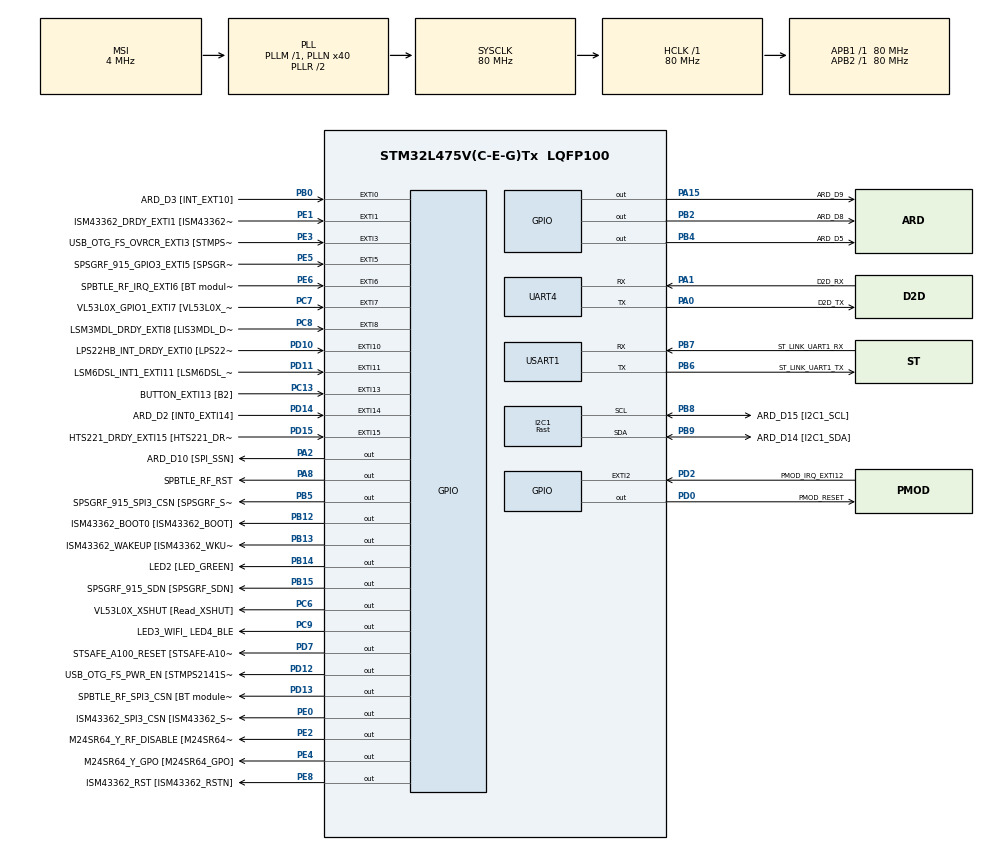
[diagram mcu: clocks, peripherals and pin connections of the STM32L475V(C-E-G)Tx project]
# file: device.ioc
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Dma.Request0=USART1_TX
Dma.Request1=UART4_RX
Dma.Request2=UART4_TX
Dma.UART4_RX.1.Direction=DMA_PERIPH_TO_MEMORY
Dma.UART4_RX.1.Instance=DMA2_Channel5
Dma.UART4_RX.1.MemDataAlignment=DMA_MDATAALIGN_BYTE
Dma.UART4_RX.1.MemInc=DMA_MINC_ENABLE
Dma.UART4_RX.1.Mode=DMA_CIRCULAR
Dma.UART4_RX.1.PeriphDataAlignment=DMA_PDATAALIGN_BYTE
Dma.UART4_RX.1.PeriphInc=DMA_PINC_DISABLE
Dma.UART4_RX.1.Priority=DMA_PRIORITY_HIGH
Dma.UART4_TX.2.Direction=DMA_MEMORY_TO_PERIPH
Dma.UART4_TX.2.Instance=DMA2_Channel3
Dma.UART4_TX.2.MemDataAlignment=DMA_MDATAALIGN_BYTE
Dma.UART4_TX.2.MemInc=DMA_MINC_ENABLE
Dma.UART4_TX.2.Mode=DMA_NORMAL
Dma.UART4_TX.2.PeriphDataAlignment=DMA_PDATAALIGN_BYTE
Dma.UART4_TX.2.PeriphInc=DMA_PINC_DISABLE
Dma.UART4_TX.2.Priority=DMA_PRIORITY_HIGH
Dma.USART1_TX.0.Direction=DMA_MEMORY_TO_PERIPH
Dma.USART1_TX.0.Instance=DMA1_Channel4
Dma.USART1_TX.0.MemDataAlignment=DMA_MDATAALIGN_BYTE
Dma.USART1_TX.0.MemInc=DMA_MINC_ENABLE
Dma.USART1_TX.0.Mode=DMA_NORMAL
Dma.USART1_TX.0.PeriphDataAlignment=DMA_PDATAALIGN_BYTE
Dma.USART1_TX.0.PeriphInc=DMA_PINC_DISABLE
Dma.USART1_TX.0.Priority=DMA_PRIORITY_MEDIUM
FREERTOS.Tasks01=defaultTask,24,128,StartDefaultTask,Default,NULL,Dynamic,NULL,NULL
FREERTOS.configUSE_NEWLIB_REENTRANT=1
I2C1.I2C_Speed_Mode=I2C_Fast
I2C1.Timing=0x00702991
Mcu.Family=STM32L4
Mcu.Name=STM32L475V(C-E-G)Tx
Mcu.Package=LQFP100
Mcu.UserConstants=d2d_uart,huart4
NVIC.DMA1_Channel4_IRQn=true\:5\:0\:false\:false\:true\:true\:false\:true\:true
NVIC.DMA2_Channel3_IRQn=true\:5\:0\:false\:false\:true\:true\:false\:true\:true
NVIC.DMA2_Channel5_IRQn=true\:5\:0\:false\:false\:true\:true\:false\:true\:true
NVIC.EXTI15_10_IRQn=true\:5\:0\:false\:false\:true\:true\:true\:true\:true
NVIC.EXTI9_5_IRQn=true\:5\:0\:false\:false\:true\:true\:true\:true\:true
NVIC.PriorityGroup=NVIC_PRIORITYGROUP_4
NVIC.TIM1_TRG_COM_TIM17_IRQn=true\:15\:0\:false\:false\:true\:false\:false\:true\:true
NVIC.TimeBase=TIM1_TRG_COM_TIM17_IRQn
NVIC.TimeBaseIP=TIM17
NVIC.UART4_IRQn=true\:5\:0\:false\:false\:true\:true\:true\:true\:true
NVIC.USART1_IRQn=true\:5\:0\:false\:false\:true\:true\:true\:true\:true
PA0.GPIO_Label=D2D_TX
PA0.Mode=Asynchronous
PA0.Signal=UART4_TX
PA1.GPIO_Label=D2D_RX
PA1.Mode=Asynchronous
PA1.Signal=UART4_RX
PA10.GPIO_Label=USB_OTG_FS_ID
PA10.Signal=USB_OTG_FS_ID
PA11.GPIO_Label=USB_OTG_FS_DM
PA11.Signal=USB_OTG_FS_DM
PA12.GPIO_Label=USB_OTG_FS_DP
PA12.Signal=USB_OTG_FS_DP
PA13\ (JTMS-SWDIO).GPIO_Label=SYS_JTMS_SWDIO
PA13\ (JTMS-SWDIO).Signal=SYS_JTMS-SWDIO
PA14\ (JTCK-SWCLK).GPIO_Label=SYS_JTCK_SWCLK
PA14\ (JTCK-SWCLK).Signal=SYS_JTCK-SWCLK
PA15\ (JTDI).GPIO_Label=ARD_D9
PA15\ (JTDI).Signal=GPIO_Output
PA2.GPIO_Label=ARD_D10 [SPI_SSN]
PA2.Signal=GPIO_Output
PA3.GPIO_Label=ARD_D4
PA3.Signal=S_TIM2_CH4
PA4.GPIO_Label=ARD_D7
PA4.Signal=ADCx_IN9
PA5.GPIO_Label=ARD_D13 [SPI1_SCK]
PA5.Signal=SPI1_SCK
PA6.GPIO_Label=ARD_D12 [SPI1_MISO]
PA6.Signal=SPI1_MISO
PA7.GPIO_Label=ARD_D11 [SPI1_MOSI]
PA7.Signal=SPI1_MOSI
PA8.GPIO_Label=SPBTLE_RF_RST
PA8.Signal=GPIO_Output
PA9.GPIO_Label=USB_OTG_FS_VBUS [STMPS2141STR_OUT]
PA9.Signal=USB_OTG_FS_VBUS
PB0.GPIO_Label=ARD_D3 [INT_EXT10]
PB0.Signal=GPXTI0
PB1.GPIO_Label=ARD_D6 [ADC1_IN6]
PB1.Signal=ADCx_IN16
PB10.GPIO_Label=INTERNAL_I2C2_SCL [VL53L0X_SCL]
PB10.Signal=I2C2_SCL
PB11.GPIO_Label=INTERNAL_I2C2_SDA [VL53L0X_SDA]
PB11.Signal=I2C2_SDA
PB12.GPIO_Label=ISM43362_BOOT0 [ISM43362_BOOT]
PB12.Signal=GPIO_Output
PB13.GPIO_Label=ISM43362_WAKEUP [ISM43362_WKUP]
PB13.Signal=GPIO_Output
PB14.GPIO_Label=LED2 [LED_GREEN]
PB14.Signal=GPIO_Output
PB15.GPIO_Label=SPSGRF_915_SDN [SPSGRF_SDN]
PB15.Signal=GPIO_Output
PB2.GPIO_Label=ARD_D8
PB2.Signal=GPIO_Output
PB3\ (JTDO-TRACESWO).GPIO_Label=SYS_JTD0_SWO
PB3\ (JTDO-TRACESWO).Signal=SYS_JTDO-SWO
PB4\ (NJTRST).GPIO_Label=ARD_D5
PB4\ (NJTRST).Signal=GPIO_Output
PB5.GPIO_Label=SPSGRF_915_SPI3_CSN [SPSGRF_SPI_CS]
PB5.PinState=GPIO_PIN_SET
PB5.Signal=GPIO_Output
PB6.GPIO_Label=ST_LINK_UART1_TX
PB6.Mode=Asynchronous
PB6.Signal=USART1_TX
PB7.GPIO_Label=ST_LINK_UART1_RX
PB7.Mode=Asynchronous
PB7.Signal=USART1_RX
PB8.GPIO_Label=ARD_D15 [I2C1_SCL]
PB8.Mode=I2C
PB8.Signal=I2C1_SCL
PB9.GPIO_Label=ARD_D14 [I2C1_SDA]
PB9.Mode=I2C
PB9.Signal=I2C1_SDA
PC0.GPIO_Label=ARD_A5 [ADC]
PC0.Signal=ADCx_IN1
PC1.GPIO_Label=ARD_A4 [ADC]
PC1.Signal=ADCx_IN2
PC10.GPIO_Label=INTERNAL_SPI3_SCK [BT module_SPI_SCLK] [ISM43362_SCK]
PC10.Signal=SPI3_SCK
PC11.GPIO_Label=INTERNAL_SPI3_MISO [BT module_SPI_MISO] [ISM43362_MISO]
PC11.Signal=SPI3_MISO
PC12.GPIO_Label=INTERNAL_SPI3_MOSI [BT module_SPI_MOSI] [ISM43362_MOSI]
PC12.Signal=SPI3_MOSI
PC13.GPIO_Label=BUTTON_EXTI13 [B2]
PC13.GPIO_ModeDefaultEXTI=GPIO_MODE_IT_FALLING
PC13.Signal=GPXTI13
PC14-OSC32_IN\ (PC14).Signal=RCC_OSC32_IN
PC15-OSC32_OUT\ (PC15).Signal=RCC_OSC32_OUT
PC2.GPIO_Label=ARD_A3 [ADC]
PC2.Signal=ADCx_IN3
PC3.GPIO_Label=ARD_A2 [ADC]
PC3.Signal=ADCx_IN4
PC4.GPIO_Label=ARD_A1 [ADC]
PC4.Signal=ADCx_IN13
PC5.GPIO_Label=ARD_A0 [ADC]
PC5.Signal=ADCx_IN14
PC6.GPIO_Label=VL53L0X_XSHUT [Read_XSHUT]
PC6.Signal=GPIO_Output
PC7.GPIO_Label=VL53L0X_GPIO1_EXTI7 [VL53L0X_GPIO1]
PC7.Signal=GPXTI7
PC8.GPIO_Label=LSM3MDL_DRDY_EXTI8 [LIS3MDL_DRDY]
PC8.Signal=GPXTI8
PC9.GPIO_Label=LED3_WIFI_ LED4_BLE
PC9.Signal=GPIO_Output
PD0.GPIO_Label=PMOD_RESET
PD0.Signal=GPIO_Output
PD1.GPIO_Label=PMOD_SPI2_SCK
PD1.Signal=SPI2_SCK
PD10.GPIO_Label=LPS22HB_INT_DRDY_EXTI0 [LPS22HB_INT_DRDY] 
PD10.Signal=GPXTI10
PD11.GPIO_Label=LSM6DSL_INT1_EXTI11 [LSM6DSL_INT1]
PD11.Signal=GPXTI11
PD12.GPIO_Label=USB_OTG_FS_PWR_EN [STMPS2141STR_EN]
PD12.Signal=GPIO_Output
PD13.GPIO_Label=SPBTLE_RF_SPI3_CSN [BT module_SPI_CS]
PD13.PinState=GPIO_PIN_SET
PD13.Signal=GPIO_Output
PD14.GPIO_Label=ARD_D2 [INT0_EXTI14]
PD14.Signal=GPXTI14
PD15.GPIO_Label=HTS221_DRDY_EXTI15 [HTS221_DRDY]
PD15.Signal=GPXTI15
PD2.GPIO_Label=PMOD_IRQ_EXTI12
PD2.Signal=GPXTI2
PD3.GPIO_Label=PMOD_UART2_CTS
PD3.Signal=USART2_CTS
PD4.GPIO_Label=PMOD_UART2_RTS
PD4.Signal=USART2_RTS
PD5.GPIO_Label=PMOD_UART2_TX
PD5.Signal=USART2_TX
PD6.GPIO_Label=PMOD_UART2_RX
PD6.Signal=USART2_RX
PD7.GPIO_Label=STSAFE_A100_RESET [STSAFE-A100_RESET]
PD7.Signal=GPIO_Output
PD8.GPIO_Label=INTERNAL_UART3_TX [ISM43362_RX]
PD8.Signal=USART3_TX
PD9.GPIO_Label=INTERNAL_UART3_RX [ISM43362_TX]
PD9.Signal=USART3_RX
PE0.GPIO_Label=ISM43362_SPI3_CSN [ISM43362_SSN]
PE0.PinState=GPIO_PIN_SET
PE0.Signal=GPIO_Output
PE1.GPIO_Label=ISM43362_DRDY_EXTI1 [ISM43362_DATARDY]
PE1.Signal=GPXTI1
PE10.GPIO_Label=QUADSPI_CLK [MX25R6435F_SCLK]
PE10.Signal=QUADSPI_CLK
PE11.GPIO_Label=QUADSPI_NCS [MX25R6435F_SCLK]
PE11.Signal=QUADSPI_NCS
PE12.GPIO_Label=OQUADSPI_BK1_IO0 [MX25R6435F_IO0]
PE12.Signal=QUADSPI_BK1_IO0
PE13.GPIO_Label=QUADSPI_BK1_IO1 [MX25R6435F_IO1]
PE13.Signal=QUADSPI_BK1_IO1
PE14.GPIO_Label=QUAD_SPI_BK1_IO2 [MX25R6435F_IO2]
PE14.Signal=QUADSPI_BK1_IO2
PE15.GPIO_Label=QUAD_SPI_BK1_IO3 [MX25R6435F_IO3]
PE15.Signal=QUADSPI_BK1_IO3
PE2.GPIO_Label=M24SR64_Y_RF_DISABLE [M24SR64_RFDIS]
PE2.Signal=GPIO_Output
PE3.GPIO_Label=USB_OTG_FS_OVRCR_EXTI3 [STMPS2141STR_FAULT]
PE3.Signal=GPXTI3
PE4.GPIO_Label=M24SR64_Y_GPO [M24SR64_GPO]
PE4.Signal=GPIO_Output
PE5.GPIO_Label=SPSGRF_915_GPIO3_EXTI5 [SPSGRF_GPIO_3]
PE5.Signal=GPXTI5
PE6.GPIO_Label=SPBTLE_RF_IRQ_EXTI6 [BT module_SPI_IRQ]
PE6.Signal=GPXTI6
PE7.GPIO_Label=DFSDM1_DATIN2 [MP34DT01_DOUT]
PE7.Signal=S_DATAIN2DFSDM1
PE8.GPIO_Label=ISM43362_RST [ISM43362_RSTN]
PE8.Signal=GPIO_Output
PE9.GPIO_Label=DFSDM1_CKOUT [MP34DT01_CLK]
PE9.Signal=S_CKOUTDFSDM1
ProjectManager.HeapSize=0x200
ProjectManager.StackSize=0x400
ProjectManager.TargetToolchain=STM32CubeIDE
RCC.ADCFreq_Value=48000000
RCC.AHBFreq_Value=80000000
RCC.APB1Freq_Value=80000000
RCC.APB1TimFreq_Value=80000000
RCC.APB2Freq_Value=80000000
RCC.APB2TimFreq_Value=80000000
RCC.CortexFreq_Value=80000000
RCC.HCLKFreq_Value=80000000
RCC.HSE_VALUE=8000000
RCC.HSI_VALUE=16000000
RCC.LSE_VALUE=32768
RCC.MSI_VALUE=4000000
RCC.PLLN=40
RCC.PLLSAI1N=24
RCC.SYSCLKFreq_VALUE=80000000
RCC.SYSCLKSource=RCC_SYSCLKSOURCE_PLLCLK
RCC.USBFreq_Value=48000000
RCC.VCOOutputFreq_Value=160000000
SH.ADCx_IN1.0=ADC1_IN1
SH.ADCx_IN13.0=ADC1_IN13
SH.ADCx_IN14.0=ADC1_IN14
SH.ADCx_IN16.0=ADC1_IN16
SH.ADCx_IN2.0=ADC1_IN2
SH.ADCx_IN3.0=ADC1_IN3
SH.ADCx_IN4.0=ADC1_IN4
SH.ADCx_IN9.0=ADC1_IN9
SH.S_CKOUTDFSDM1.0=DFSDM1_CKOUT
SH.S_DATAIN2DFSDM1.0=DFSDM1_DATIN2
SH.S_TIM2_CH4.0=TIM2_CH4
USART1.VirtualMode-Asynchronous=VM_ASYNC
VP_FREERTOS_VS_CMSIS_V2.Mode=CMSIS_V2
VP_SYS_VS_tim17.Mode=TIM17
board=B-L475E-IOT01A2

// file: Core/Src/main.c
/* USER CODE BEGIN Header */
/**
  ******************************************************************************
  * @file           : main.c
  * @brief          : Main program body
  ******************************************************************************
  * @attention
  *
  * Copyright (c) 2024 STMicroelectronics.
  * All rights reserved.
  *
  * This software is licensed under terms that can be found in the LICENSE file
  * in the root directory of this software component.
  * If no LICENSE file comes with this software, it is provided AS-IS.
  *
  ******************************************************************************
  */
/* USER CODE END Header */
#include "main.h"
#include "cmsis_os.h"

/* USER CODE BEGIN Includes */
#include <string.h>
#include "sensors.h"
#include "log.h"
#include "d2d.h"
/* USER CODE END Includes */

I2C_HandleTypeDef hi2c1;

UART_HandleTypeDef huart4;
UART_HandleTypeDef huart1;
DMA_HandleTypeDef hdma_uart4_rx;
DMA_HandleTypeDef hdma_uart4_tx;
DMA_HandleTypeDef hdma_usart1_tx;

/* Definitions for defaultTask */
osThreadId_t defaultTaskHandle;
const osThreadAttr_t defaultTask_attributes = {
  .name = "defaultTask",
  .stack_size = 128 * 4,
  .priority = (osPriority_t) osPriorityNormal,
};

void SystemClock_Config(void);
static void MX_GPIO_Init(void);
static void MX_DMA_Init(void);
static void MX_USART1_UART_Init(void);
static void MX_I2C1_Init(void);
static void MX_UART4_Init(void);
void StartDefaultTask(void *argument);

/* USER CODE BEGIN 0 */
static void RunTasks(void) {
  start_log_task();
  start_temperature_task();
  start_humidity_task();
  start_pressure_task();
  start_d2d_task();
}
/* USER CODE END 0 */

int main(void)
{

  /* MCU Configuration--------------------------------------------------------*/

  /* Reset of all peripherals, Initializes the Flash interface and the Systick. */
  HAL_Init();

  /* Configure the system clock */
  SystemClock_Config();

  /* Initialize all configured peripherals */
  MX_GPIO_Init();
  MX_DMA_Init();
  MX_USART1_UART_Init();
  MX_I2C1_Init();
  MX_UART4_Init();
  /* USER CODE BEGIN 2 */

  log_init();
  /* USER CODE END 2 */

  /* Init scheduler */
  osKernelInitialize();

  /* USER CODE BEGIN RTOS_MUTEX */
  /* add mutexes, ... */
  init_sensors_mutex();
  /* USER CODE END RTOS_MUTEX */

  /* Create the thread(s) */
  /* creation of defaultTask */
  defaultTaskHandle = osThreadNew(StartDefaultTask, NULL, &defaultTask_attributes);

  /* USER CODE BEGIN RTOS_THREADS */
  /* add threads, ... */
  RunTasks();
  /* USER CODE END RTOS_THREADS */

  /* Start scheduler */
  osKernelStart();

  /* We should never get here as control is now taken by the scheduler */

  /* Infinite loop */
  while (1)
  {

  }
}

void SystemClock_Config(void)
{
  RCC_OscInitTypeDef RCC_OscInitStruct = {0};
  RCC_ClkInitTypeDef RCC_ClkInitStruct = {0};

  /** Configure the main internal regulator output voltage
  */
  if (HAL_PWREx_ControlVoltageScaling(PWR_REGULATOR_VOLTAGE_SCALE1) != HAL_OK)
  {
    Error_Handler();
  }

  /** Initializes the RCC Oscillators according to the specified parameters
  * in the RCC_OscInitTypeDef structure.
  */
  RCC_OscInitStruct.OscillatorType = RCC_OSCILLATORTYPE_MSI;
  RCC_OscInitStruct.MSIState = RCC_MSI_ON;
  RCC_OscInitStruct.MSICalibrationValue = 0;
  RCC_OscInitStruct.MSIClockRange = RCC_MSIRANGE_6;
  RCC_OscInitStruct.PLL.PLLState = RCC_PLL_ON;
  RCC_OscInitStruct.PLL.PLLSource = RCC_PLLSOURCE_MSI;
  RCC_OscInitStruct.PLL.PLLM = 1;
  RCC_OscInitStruct.PLL.PLLN = 40;
  RCC_OscInitStruct.PLL.PLLP = RCC_PLLP_DIV7;
  RCC_OscInitStruct.PLL.PLLQ = RCC_PLLQ_DIV2;
  RCC_OscInitStruct.PLL.PLLR = RCC_PLLR_DIV2;
  if (HAL_RCC_OscConfig(&RCC_OscInitStruct) != HAL_OK)
  {
    Error_Handler();
  }

  /** Initializes the CPU, AHB and APB buses clocks
  */
  RCC_ClkInitStruct.ClockType = RCC_CLOCKTYPE_HCLK|RCC_CLOCKTYPE_SYSCLK
                              |RCC_CLOCKTYPE_PCLK1|RCC_CLOCKTYPE_PCLK2;
  RCC_ClkInitStruct.SYSCLKSource = RCC_SYSCLKSOURCE_PLLCLK;
  RCC_ClkInitStruct.AHBCLKDivider = RCC_SYSCLK_DIV1;
  RCC_ClkInitStruct.APB1CLKDivider = RCC_HCLK_DIV1;
  RCC_ClkInitStruct.APB2CLKDivider = RCC_HCLK_DIV1;

  if (HAL_RCC_ClockConfig(&RCC_ClkInitStruct, FLASH_LATENCY_4) != HAL_OK)
  {
    Error_Handler();
  }
}

static void MX_I2C1_Init(void)
{

  hi2c1.Instance = I2C1;
  hi2c1.Init.Timing = 0x00702991;
  hi2c1.Init.OwnAddress1 = 0;
  hi2c1.Init.AddressingMode = I2C_ADDRESSINGMODE_7BIT;
  hi2c1.Init.DualAddressMode = I2C_DUALADDRESS_DISABLE;
  hi2c1.Init.OwnAddress2 = 0;
  hi2c1.Init.OwnAddress2Masks = I2C_OA2_NOMASK;
  hi2c1.Init.GeneralCallMode = I2C_GENERALCALL_DISABLE;
  hi2c1.Init.NoStretchMode = I2C_NOSTRETCH_DISABLE;
  if (HAL_I2C_Init(&hi2c1) != HAL_OK)
  {
    Error_Handler();
  }

  /** Configure Analogue filter
  */
  if (HAL_I2CEx_ConfigAnalogFilter(&hi2c1, I2C_ANALOGFILTER_ENABLE) != HAL_OK)
  {
    Error_Handler();
  }

  /** Configure Digital filter
  */
  if (HAL_I2CEx_ConfigDigitalFilter(&hi2c1, 0) != HAL_OK)
  {
    Error_Handler();
  }

}

static void MX_UART4_Init(void)
{

  huart4.Instance = UART4;
  huart4.Init.BaudRate = 115200;
  huart4.Init.WordLength = UART_WORDLENGTH_8B;
  huart4.Init.StopBits = UART_STOPBITS_1;
  huart4.Init.Parity = UART_PARITY_NONE;
  huart4.Init.Mode = UART_MODE_TX_RX;
  huart4.Init.HwFlowCtl = UART_HWCONTROL_NONE;
  huart4.Init.OverSampling = UART_OVERSAMPLING_16;
  huart4.Init.OneBitSampling = UART_ONE_BIT_SAMPLE_DISABLE;
  huart4.AdvancedInit.AdvFeatureInit = UART_ADVFEATURE_NO_INIT;
  if (HAL_UART_Init(&huart4) != HAL_OK)
  {
    Error_Handler();
  }

}

static void MX_USART1_UART_Init(void)
{

  huart1.Instance = USART1;
  huart1.Init.BaudRate = 115200;
  huart1.Init.WordLength = UART_WORDLENGTH_8B;
  huart1.Init.StopBits = UART_STOPBITS_1;
  huart1.Init.Parity = UART_PARITY_NONE;
  huart1.Init.Mode = UART_MODE_TX_RX;
  huart1.Init.HwFlowCtl = UART_HWCONTROL_NONE;
  huart1.Init.OverSampling = UART_OVERSAMPLING_16;
  huart1.Init.OneBitSampling = UART_ONE_BIT_SAMPLE_DISABLE;
  huart1.AdvancedInit.AdvFeatureInit = UART_ADVFEATURE_NO_INIT;
  if (HAL_UART_Init(&huart1) != HAL_OK)
  {
    Error_Handler();
  }

}

static void MX_DMA_Init(void)
{

  /* DMA controller clock enable */
  __HAL_RCC_DMA1_CLK_ENABLE();
  __HAL_RCC_DMA2_CLK_ENABLE();

  /* DMA interrupt init */
  /* DMA1_Channel4_IRQn interrupt configuration */
  HAL_NVIC_SetPriority(DMA1_Channel4_IRQn, 5, 0);
  HAL_NVIC_EnableIRQ(DMA1_Channel4_IRQn);
  /* DMA2_Channel3_IRQn interrupt configuration */
  HAL_NVIC_SetPriority(DMA2_Channel3_IRQn, 5, 0);
  HAL_NVIC_EnableIRQ(DMA2_Channel3_IRQn);
  /* DMA2_Channel5_IRQn interrupt configuration */
  HAL_NVIC_SetPriority(DMA2_Channel5_IRQn, 5, 0);
  HAL_NVIC_EnableIRQ(DMA2_Channel5_IRQn);

}

static void MX_GPIO_Init(void)
{
  GPIO_InitTypeDef GPIO_InitStruct = {0};

  /* GPIO Ports Clock Enable */
  __HAL_RCC_GPIOE_CLK_ENABLE();
  __HAL_RCC_GPIOC_CLK_ENABLE();
  __HAL_RCC_GPIOA_CLK_ENABLE();
  __HAL_RCC_GPIOB_CLK_ENABLE();
  __HAL_RCC_GPIOD_CLK_ENABLE();

  /*Configure GPIO pin Output Level */
  HAL_GPIO_WritePin(GPIOE, M24SR64_Y_RF_DISABLE_Pin|M24SR64_Y_GPO_Pin|ISM43362_RST_Pin, GPIO_PIN_RESET);

  /*Configure GPIO pin Output Level */
  HAL_GPIO_WritePin(GPIOA, ARD_D10_Pin|SPBTLE_RF_RST_Pin|ARD_D9_Pin, GPIO_PIN_RESET);

  /*Configure GPIO pin Output Level */
  HAL_GPIO_WritePin(GPIOB, ARD_D8_Pin|ISM43362_BOOT0_Pin|ISM43362_WAKEUP_Pin|LED2_Pin
                          |SPSGRF_915_SDN_Pin|ARD_D5_Pin, GPIO_PIN_RESET);

  /*Configure GPIO pin Output Level */
  HAL_GPIO_WritePin(GPIOD, USB_OTG_FS_PWR_EN_Pin|PMOD_RESET_Pin|STSAFE_A100_RESET_Pin, GPIO_PIN_RESET);

  /*Configure GPIO pin Output Level */
  HAL_GPIO_WritePin(SPBTLE_RF_SPI3_CSN_GPIO_Port, SPBTLE_RF_SPI3_CSN_Pin, GPIO_PIN_SET);

  /*Configure GPIO pin Output Level */
  HAL_GPIO_WritePin(GPIOC, VL53L0X_XSHUT_Pin|LED3_WIFI__LED4_BLE_Pin, GPIO_PIN_RESET);

  /*Configure GPIO pin Output Level */
  HAL_GPIO_WritePin(SPSGRF_915_SPI3_CSN_GPIO_Port, SPSGRF_915_SPI3_CSN_Pin, GPIO_PIN_SET);

  /*Configure GPIO pin Output Level */
  HAL_GPIO_WritePin(ISM43362_SPI3_CSN_GPIO_Port, ISM43362_SPI3_CSN_Pin, GPIO_PIN_SET);

  /*Configure GPIO pins : M24SR64_Y_RF_DISABLE_Pin M24SR64_Y_GPO_Pin ISM43362_RST_Pin ISM43362_SPI3_CSN_Pin */
  GPIO_InitStruct.Pin = M24SR64_Y_RF_DISABLE_Pin|M24SR64_Y_GPO_Pin|ISM43362_RST_Pin|ISM43362_SPI3_CSN_Pin;
  GPIO_InitStruct.Mode = GPIO_MODE_OUTPUT_PP;
  GPIO_InitStruct.Pull = GPIO_NOPULL;
  GPIO_InitStruct.Speed = GPIO_SPEED_FREQ_LOW;
  HAL_GPIO_Init(GPIOE, &GPIO_InitStruct);

  /*Configure GPIO pins : USB_OTG_FS_OVRCR_EXTI3_Pin SPSGRF_915_GPIO3_EXTI5_Pin SPBTLE_RF_IRQ_EXTI6_Pin ISM43362_DRDY_EXTI1_Pin */
  GPIO_InitStruct.Pin = USB_OTG_FS_OVRCR_EXTI3_Pin|SPSGRF_915_GPIO3_EXTI5_Pin|SPBTLE_RF_IRQ_EXTI6_Pin|ISM43362_DRDY_EXTI1_Pin;
  GPIO_InitStruct.Mode = GPIO_MODE_IT_RISING;
  GPIO_InitStruct.Pull = GPIO_NOPULL;
  HAL_GPIO_Init(GPIOE, &GPIO_InitStruct);

  /*Configure GPIO pin : BUTTON_EXTI13_Pin */
  GPIO_InitStruct.Pin = BUTTON_EXTI13_Pin;
  GPIO_InitStruct.Mode = GPIO_MODE_IT_FALLING;
  GPIO_InitStruct.Pull = GPIO_NOPULL;
  HAL_GPIO_Init(BUTTON_EXTI13_GPIO_Port, &GPIO_InitStruct);

  /*Configure GPIO pins : ARD_A5_Pin ARD_A4_Pin ARD_A3_Pin ARD_A2_Pin
                           ARD_A1_Pin ARD_A0_Pin */
  GPIO_InitStruct.Pin = ARD_A5_Pin|ARD_A4_Pin|ARD_A3_Pin|ARD_A2_Pin
                          |ARD_A1_Pin|ARD_A0_Pin;
  GPIO_InitStruct.Mode = GPIO_MODE_ANALOG_ADC_CONTROL;
  GPIO_InitStruct.Pull = GPIO_NOPULL;
  HAL_GPIO_Init(GPIOC, &GPIO_InitStruct);

  /*Configure GPIO pins : ARD_D10_Pin SPBTLE_RF_RST_Pin ARD_D9_Pin */
  GPIO_InitStruct.Pin = ARD_D10_Pin|SPBTLE_RF_RST_Pin|ARD_D9_Pin;
  GPIO_InitStruct.Mode = GPIO_MODE_OUTPUT_PP;
  GPIO_InitStruct.Pull = GPIO_NOPULL;
  GPIO_InitStruct.Speed = GPIO_SPEED_FREQ_LOW;
  HAL_GPIO_Init(GPIOA, &GPIO_InitStruct);

  /*Configure GPIO pin : ARD_D4_Pin */
  GPIO_InitStruct.Pin = ARD_D4_Pin;
  GPIO_InitStruct.Mode = GPIO_MODE_AF_PP;
  GPIO_InitStruct.Pull = GPIO_NOPULL;
  GPIO_InitStruct.Speed = GPIO_SPEED_FREQ_LOW;
  GPIO_InitStruct.Alternate = GPIO_AF1_TIM2;
  HAL_GPIO_Init(ARD_D4_GPIO_Port, &GPIO_InitStruct);

  /*Configure GPIO pin : ARD_D7_Pin */
  GPIO_InitStruct.Pin = ARD_D7_Pin;
  GPIO_InitStruct.Mode = GPIO_MODE_ANALOG_ADC_CONTROL;
  GPIO_InitStruct.Pull = GPIO_NOPULL;
  HAL_GPIO_Init(ARD_D7_GPIO_Port, &GPIO_InitStruct);

  /*Configure GPIO pins : ARD_D13_Pin ARD_D12_Pin ARD_D11_Pin */
  GPIO_InitStruct.Pin = ARD_D13_Pin|ARD_D12_Pin|ARD_D11_Pin;
  GPIO_InitStruct.Mode = GPIO_MODE_AF_PP;
  GPIO_InitStruct.Pull = GPIO_NOPULL;
  GPIO_InitStruct.Speed = GPIO_SPEED_FREQ_VERY_HIGH;
  GPIO_InitStruct.Alternate = GPIO_AF5_SPI1;
  HAL_GPIO_Init(GPIOA, &GPIO_InitStruct);

  /*Configure GPIO pin : ARD_D3_Pin */
  GPIO_InitStruct.Pin = ARD_D3_Pin;
  GPIO_InitStruct.Mode = GPIO_MODE_IT_RISING;
  GPIO_InitStruct.Pull = GPIO_NOPULL;
  HAL_GPIO_Init(ARD_D3_GPIO_Port, &GPIO_InitStruct);

  /*Configure GPIO pin : ARD_D6_Pin */
  GPIO_InitStruct.Pin = ARD_D6_Pin;
  GPIO_InitStruct.Mode = GPIO_MODE_ANALOG_ADC_CONTROL;
  GPIO_InitStruct.Pull = GPIO_NOPULL;
  HAL_GPIO_Init(ARD_D6_GPIO_Port, &GPIO_InitStruct);

  /*Configure GPIO pins : ARD_D8_Pin ISM43362_BOOT0_Pin ISM43362_WAKEUP_Pin LED2_Pin
                           SPSGRF_915_SDN_Pin ARD_D5_Pin SPSGRF_915_SPI3_CSN_Pin */
  GPIO_InitStruct.Pin = ARD_D8_Pin|ISM43362_BOOT0_Pin|ISM43362_WAKEUP_Pin|LED2_Pin
                          |SPSGRF_915_SDN_Pin|ARD_D5_Pin|SPSGRF_915_SPI3_CSN_Pin;
  GPIO_InitStruct.Mode = GPIO_MODE_OUTPUT_PP;
  GPIO_InitStruct.Pull = GPIO_NOPULL;
  GPIO_InitStruct.Speed = GPIO_SPEED_FREQ_LOW;
  HAL_GPIO_Init(GPIOB, &GPIO_InitStruct);

  /*Configure GPIO pins : DFSDM1_DATIN2_Pin DFSDM1_CKOUT_Pin */
  GPIO_InitStruct.Pin = DFSDM1_DATIN2_Pin|DFSDM1_CKOUT_Pin;
  GPIO_InitStruct.Mode = GPIO_MODE_AF_PP;
  GPIO_InitStruct.Pull = GPIO_NOPULL;
  GPIO_InitStruct.Speed = GPIO_SPEED_FREQ_LOW;
  GPIO_InitStruct.Alternate = GPIO_AF6_DFSDM1;
  HAL_GPIO_Init(GPIOE, &GPIO_InitStruct);

  /*Configure GPIO pins : QUADSPI_CLK_Pin QUADSPI_NCS_Pin OQUADSPI_BK1_IO0_Pin QUADSPI_BK1_IO1_Pin
                           QUAD_SPI_BK1_IO2_Pin QUAD_SPI_BK1_IO3_Pin */
  GPIO_InitStruct.Pin = QUADSPI_CLK_Pin|QUADSPI_NCS_Pin|OQUADSPI_BK1_IO0_Pin|QUADSPI_BK1_IO1_Pin
                          |QUAD_SPI_BK1_IO2_Pin|QUAD_SPI_BK1_IO3_Pin;
  GPIO_InitStruct.Mode = GPIO_MODE_AF_PP;
  GPIO_InitStruct.Pull = GPIO_NOPULL;
  GPIO_InitStruct.Speed = GPIO_SPEED_FREQ_VERY_HIGH;
  GPIO_InitStruct.Alternate = GPIO_AF10_QUADSPI;
  HAL_GPIO_Init(GPIOE, &GPIO_InitStruct);

  /*Configure GPIO pins : INTERNAL_I2C2_SCL_Pin INTERNAL_I2C2_SDA_Pin */
  GPIO_InitStruct.Pin = INTERNAL_I2C2_SCL_Pin|INTERNAL_I2C2_SDA_Pin;
  GPIO_InitStruct.Mode = GPIO_MODE_AF_OD;
  GPIO_InitStruct.Pull = GPIO_NOPULL;
  GPIO_InitStruct.Speed = GPIO_SPEED_FREQ_VERY_HIGH;
  GPIO_InitStruct.Alternate = GPIO_AF4_I2C2;
  HAL_GPIO_Init(GPIOB, &GPIO_InitStruct);

  /*Configure GPIO pins : INTERNAL_UART3_TX_Pin INTERNAL_UART3_RX_Pin */
  GPIO_InitStruct.Pin = INTERNAL_UART3_TX_Pin|INTERNAL_UART3_RX_Pin;
  GPIO_InitStruct.Mode = GPIO_MODE_AF_PP;
  GPIO_InitStruct.Pull = GPIO_NOPULL;
  GPIO_InitStruct.Speed = GPIO_SPEED_FREQ_VERY_HIGH;
  GPIO_InitStruct.Alternate = GPIO_AF7_USART3;
  HAL_GPIO_Init(GPIOD, &GPIO_InitStruct);

  /*Configure GPIO pins : LPS22HB_INT_DRDY_EXTI0_Pin LSM6DSL_INT1_EXTI11_Pin ARD_D2_Pin HTS221_DRDY_EXTI15_Pin
                           PMOD_IRQ_EXTI12_Pin */
  GPIO_InitStruct.Pin = LPS22HB_INT_DRDY_EXTI0_Pin|LSM6DSL_INT1_EXTI11_Pin|ARD_D2_Pin|HTS221_DRDY_EXTI15_Pin
                          |PMOD_IRQ_EXTI12_Pin;
  GPIO_InitStruct.Mode = GPIO_MODE_IT_RISING;
  GPIO_InitStruct.Pull = GPIO_NOPULL;
  HAL_GPIO_Init(GPIOD, &GPIO_InitStruct);

  /*Configure GPIO pins : USB_OTG_FS_PWR_EN_Pin SPBTLE_RF_SPI3_CSN_Pin PMOD_RESET_Pin STSAFE_A100_RESET_Pin */
  GPIO_InitStruct.Pin = USB_OTG_FS_PWR_EN_Pin|SPBTLE_RF_SPI3_CSN_Pin|PMOD_RESET_Pin|STSAFE_A100_RESET_Pin;
  GPIO_InitStruct.Mode = GPIO_MODE_OUTPUT_PP;
  GPIO_InitStruct.Pull = GPIO_NOPULL;
  GPIO_InitStruct.Speed = GPIO_SPEED_FREQ_LOW;
  HAL_GPIO_Init(GPIOD, &GPIO_InitStruct);

  /*Configure GPIO pins : VL53L0X_XSHUT_Pin LED3_WIFI__LED4_BLE_Pin */
  GPIO_InitStruct.Pin = VL53L0X_XSHUT_Pin|LED3_WIFI__LED4_BLE_Pin;
  GPIO_InitStruct.Mode = GPIO_MODE_OUTPUT_PP;
  GPIO_InitStruct.Pull = GPIO_NOPULL;
  GPIO_InitStruct.Speed = GPIO_SPEED_FREQ_LOW;
  HAL_GPIO_Init(GPIOC, &GPIO_InitStruct);

  /*Configure GPIO pins : VL53L0X_GPIO1_EXTI7_Pin LSM3MDL_DRDY_EXTI8_Pin */
  GPIO_InitStruct.Pin = VL53L0X_GPIO1_EXTI7_Pin|LSM3MDL_DRDY_EXTI8_Pin;
  GPIO_InitStruct.Mode = GPIO_MODE_IT_RISING;
  GPIO_InitStruct.Pull = GPIO_NOPULL;
  HAL_GPIO_Init(GPIOC, &GPIO_InitStruct);

  /*Configure GPIO pin : USB_OTG_FS_VBUS_Pin */
  GPIO_InitStruct.Pin = USB_OTG_FS_VBUS_Pin;
  GPIO_InitStruct.Mode = GPIO_MODE_INPUT;
  GPIO_InitStruct.Pull = GPIO_NOPULL;
  HAL_GPIO_Init(USB_OTG_FS_VBUS_GPIO_Port, &GPIO_InitStruct);

  /*Configure GPIO pins : USB_OTG_FS_ID_Pin USB_OTG_FS_DM_Pin USB_OTG_FS_DP_Pin */
  GPIO_InitStruct.Pin = USB_OTG_FS_ID_Pin|USB_OTG_FS_DM_Pin|USB_OTG_FS_DP_Pin;
  GPIO_InitStruct.Mode = GPIO_MODE_AF_PP;
  GPIO_InitStruct.Pull = GPIO_NOPULL;
  GPIO_InitStruct.Speed = GPIO_SPEED_FREQ_VERY_HIGH;
  GPIO_InitStruct.Alternate = GPIO_AF10_OTG_FS;
  HAL_GPIO_Init(GPIOA, &GPIO_InitStruct);

  /*Configure GPIO pins : INTERNAL_SPI3_SCK_Pin INTERNAL_SPI3_MISO_Pin INTERNAL_SPI3_MOSI_Pin */
  GPIO_InitStruct.Pin = INTERNAL_SPI3_SCK_Pin|INTERNAL_SPI3_MISO_Pin|INTERNAL_SPI3_MOSI_Pin;
  GPIO_InitStruct.Mode = GPIO_MODE_AF_PP;
  GPIO_InitStruct.Pull = GPIO_NOPULL;
  GPIO_InitStruct.Speed = GPIO_SPEED_FREQ_VERY_HIGH;
  GPIO_InitStruct.Alternate = GPIO_AF6_SPI3;
  HAL_GPIO_Init(GPIOC, &GPIO_InitStruct);

  /*Configure GPIO pin : PMOD_SPI2_SCK_Pin */
  GPIO_InitStruct.Pin = PMOD_SPI2_SCK_Pin;
  GPIO_InitStruct.Mode = GPIO_MODE_AF_PP;
  GPIO_InitStruct.Pull = GPIO_NOPULL;
  GPIO_InitStruct.Speed = GPIO_SPEED_FREQ_VERY_HIGH;
  GPIO_InitStruct.Alternate = GPIO_AF5_SPI2;
  HAL_GPIO_Init(PMOD_SPI2_SCK_GPIO_Port, &GPIO_InitStruct);

  /*Configure GPIO pins : PMOD_UART2_CTS_Pin PMOD_UART2_RTS_Pin PMOD_UART2_TX_Pin PMOD_UART2_RX_Pin */
  GPIO_InitStruct.Pin = PMOD_UART2_CTS_Pin|PMOD_UART2_RTS_Pin|PMOD_UART2_TX_Pin|PMOD_UART2_RX_Pin;
  GPIO_InitStruct.Mode = GPIO_MODE_AF_PP;
  GPIO_InitStruct.Pull = GPIO_NOPULL;
  GPIO_InitStruct.Speed = GPIO_SPEED_FREQ_VERY_HIGH;
  GPIO_InitStruct.Alternate = GPIO_AF7_USART2;
  HAL_GPIO_Init(GPIOD, &GPIO_InitStruct);

  /* EXTI interrupt init*/
  HAL_NVIC_SetPriority(EXTI9_5_IRQn, 5, 0);
  HAL_NVIC_EnableIRQ(EXTI9_5_IRQn);

  HAL_NVIC_SetPriority(EXTI15_10_IRQn, 5, 0);
  HAL_NVIC_EnableIRQ(EXTI15_10_IRQn);

}

/* USER CODE BEGIN 4 */

void HAL_UART_TxCpltCallback(UART_HandleTypeDef *huart) {
  if(huart == &huart1) {
    log_txcplt_cb();
  }
}
/* USER CODE END 4 */

void StartDefaultTask(void *argument)
{
  /* USER CODE BEGIN 5 */
  /* Infinite loop */
  for(;;)
  {
    osDelay(1000);
  }
  /* USER CODE END 5 */
}

void HAL_TIM_PeriodElapsedCallback(TIM_HandleTypeDef *htim)
{
  if (htim->Instance == TIM17) {
    HAL_IncTick();
  }
}

void Error_Handler(void)
{
  __disable_irq();
  while (1)
  {
  }
}
